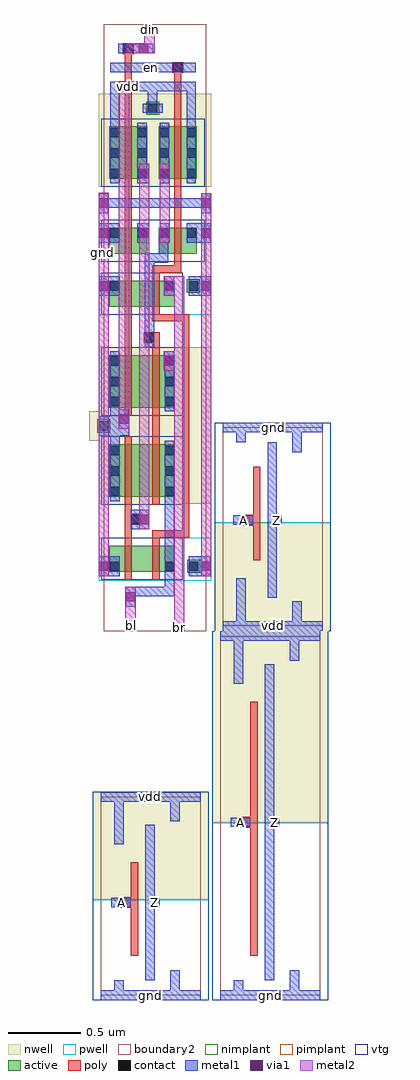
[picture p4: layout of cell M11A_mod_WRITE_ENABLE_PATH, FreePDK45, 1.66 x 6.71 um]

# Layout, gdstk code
import gdstk
lib = gdstk.Library(unit=1e-6, precision=1e-09)
def R(c, l, rs):  # rectangles x0, y0, x1, y1
    for r in rs: c.add(gdstk.rectangle(r[:2], r[2:], *l))
def A(c, l, x, y, w, h, nx, ny, dx, dy):  # array of equal rectangles
    R(c, l, [(x+i*dx, y+j*dy, x+i*dx+w, y+j*dy+h) for i in range(nx) for j in range(ny)])
active = (1, 0)
pwell = (2, 0)
nwell = (3, 0)
nimplant = (4, 0)
pimplant = (5, 0)
vtg = (6, 0)
poly = (9, 0)
contact = (10, 0)
metal1 = (11, 0)
via1 = (12, 0)
metal2 = (13, 0)
boundary2 = (239, 0)

m11a_mod_write_enable_pa = lib.new_cell('M11A_mod_WRITE_ENABLE_PATH')
R(m11a_mod_write_enable_pa, active, [(0.675,2.985,0.765,3.075), (0.14,2.993,0.215,3.173), (0.14,2.993,0.215,3.173), (0.14,2.993,0.215,3.068), (0.14,2.993,0.59,3.173), (0.292,2.993,0.432,3.173), (0.515,2.993,0.59,3.173), (0.515,2.993,0.59,3.173), (0.515,2.993,0.59,3.068), (0.14,3.508,0.215,3.868), (0.14,3.508,0.215,3.868), (0.14,3.508,0.215,3.863), (0.14,3.508,0.59,3.868), (0.292,3.508,0.432,3.868), (0.515,3.508,0.59,3.868), (0.515,3.508,0.59,3.868), (0.515,3.508,0.59,3.863), (0.055,3.95,0.145,4.04), (0.14,4.12,0.215,4.48), (0.14,4.12,0.215,4.48), (0.14,4.12,0.59,4.48), (0.297,4.12,0.437,4.48), (0.515,4.12,0.59,4.48), (0.515,4.12,0.59,4.48), (0.14,4.125,0.215,4.48), (0.515,4.125,0.59,4.48), (0.14,4.815,0.215,4.995), (0.14,4.815,0.215,4.995), (0.14,4.815,0.59,4.995), (0.297,4.815,0.437,4.995), (0.515,4.815,0.59,4.995), (0.515,4.815,0.59,4.995), (0.672,4.913,0.762,5.003), (0.14,4.92,0.215,4.995), (0.515,4.92,0.59,4.995), (0.14,5.18,0.215,5.36), (0.14,5.18,0.215,5.36), (0.14,5.18,0.4,5.36), (0.325,5.18,0.4,5.36), (0.325,5.18,0.4,5.36), (0.48,5.18,0.555,5.36), (0.48,5.18,0.555,5.36), (0.48,5.18,0.74,5.36), (0.665,5.18,0.74,5.36), (0.665,5.18,0.74,5.36), (0.14,5.285,0.215,5.36), (0.325,5.285,0.4,5.36), (0.48,5.285,0.555,5.36), (0.665,5.285,0.74,5.36), (0.14,5.695,0.215,6.055), (0.14,5.695,0.215,6.055), (0.14,5.695,0.4,6.055), (0.14,5.695,0.215,6.05), (0.325,5.695,0.4,6.055), (0.325,5.695,0.4,6.055), (0.325,5.695,0.4,6.05), (0.48,5.695,0.555,6.055), (0.48,5.695,0.555,6.055), (0.48,5.695,0.74,6.055), (0.48,5.695,0.555,6.05), (0.665,5.695,0.74,6.055), (0.665,5.695,0.74,6.055), (0.665,5.695,0.74,6.05), (0.392,6.135,0.482,6.225)])
R(m11a_mod_write_enable_pa, pwell, [(0.025,0.047,0.823,0.735), (0.847,0.047,1.645,1.265), (0.065,2.93,0.84,3.228), (0.62,2.93,0.82,3.13), (0.085,2.938,0.645,3.228), (0.865,3.33,1.663,4.018), (0.065,4.76,0.84,5.415), (0.085,4.76,0.645,5.05), (0.617,4.858,0.817,5.058), (0.085,5.125,0.455,5.415), (0.425,5.125,0.795,5.415)])
R(m11a_mod_write_enable_pa, nwell, [(0.025,0.735,0.823,1.48), (0.847,1.265,1.645,2.585), (0.865,2.585,1.663,3.33), (0.085,3.453,0.645,3.923), (0.065,3.46,0.84,4.535), (0,3.895,0.2,4.095), (0.085,4.065,0.645,4.535), (0.065,5.64,0.84,6.28), (0.085,5.64,0.455,6.11), (0.425,5.64,0.795,6.11), (0.337,6.08,0.537,6.28)])
R(m11a_mod_write_enable_pa, nimplant, [(0.14,2.993,0.59,3.173), (0.055,3.95,0.145,4.04), (0.14,4.815,0.59,4.995), (0.14,5.18,0.4,5.36), (0.48,5.18,0.74,5.36), (0.392,6.135,0.482,6.225)])
R(m11a_mod_write_enable_pa, pimplant, [(0.675,2.985,0.765,3.075), (0.14,3.508,0.59,3.868), (0.14,4.12,0.59,4.48), (0.672,4.913,0.762,5.003), (0.14,5.695,0.4,6.055), (0.48,5.695,0.74,6.055)])
R(m11a_mod_write_enable_pa, vtg, [(0.025,0.047,0.823,0.735), (0.847,0.047,1.645,1.265), (0.025,0.735,0.823,1.48), (0.847,1.265,1.645,2.585), (0.865,2.585,1.663,3.33), (0.085,2.938,0.645,3.228), (0.865,3.33,1.663,4.018), (0.085,3.453,0.645,3.923), (0.085,4.065,0.645,4.535), (0.085,4.76,0.645,5.05), (0.085,5.125,0.455,5.415), (0.425,5.125,0.795,5.415), (0.085,5.64,0.455,6.11), (0.425,5.64,0.795,6.11)])
R(m11a_mod_write_enable_pa, poly, [(0.288,0.35,0.338,0.995), (1.11,0.35,1.16,2.1), (0.22,0.68,0.288,0.755), (1.042,1.233,1.11,1.308), (0.245,2.938,0.295,3.228), (0.245,2.938,0.295,2.993), (0.435,2.938,0.485,3.228), (0.435,2.938,0.485,2.993), (1.128,3.07,1.178,3.715), (0.245,3.173,0.295,3.228), (0.435,3.173,0.485,3.228), (0.245,3.228,0.295,3.453), (0.435,3.228,0.69,3.278), (0.64,3.278,0.69,4.765), (1.06,3.31,1.128,3.385), (0.28,3.315,0.355,3.39), (0.245,3.453,0.295,3.508), (0.245,3.453,0.295,3.923), (0.435,3.453,0.485,3.508), (0.435,3.453,0.485,3.923), (0.245,3.868,0.295,3.923), (0.435,3.868,0.485,3.923), (0.435,3.923,0.485,4.065), (0.245,4.065,0.295,4.12), (0.245,4.065,0.295,4.535), (0.435,4.065,0.485,4.12), (0.435,4.065,0.485,4.535), (0.245,4.48,0.295,4.535), (0.435,4.48,0.485,4.535), (0.245,4.535,0.295,4.76), (0.435,4.535,0.485,4.64), (0.377,4.565,0.452,4.64), (0.435,4.715,0.69,4.765), (0.245,4.76,0.295,5.05), (0.245,4.76,0.295,4.815), (0.435,4.76,0.485,5.05), (0.435,4.76,0.485,4.815), (0.245,4.995,0.295,5.05), (0.435,4.995,0.485,5.05), (0.245,5.05,0.295,5.125), (0.435,5.05,0.635,5.1), (0.585,5.1,0.635,5.125), (0.245,5.125,0.295,5.415), (0.245,5.125,0.295,5.18), (0.585,5.125,0.635,5.415), (0.585,5.125,0.635,5.18), (0.245,5.36,0.295,5.415), (0.585,5.36,0.635,5.415), (0.245,5.415,0.295,5.64), (0.585,5.415,0.635,5.64), (0.245,5.64,0.295,5.695), (0.245,5.64,0.295,6.11), (0.585,5.64,0.635,5.695), (0.585,5.64,0.635,6.11), (0.245,6.055,0.295,6.11), (0.585,6.055,0.635,6.11), (0.245,6.11,0.295,6.623), (0.585,6.11,0.635,6.493), (0.572,6.423,0.647,6.498), (0.232,6.553,0.307,6.628)])
A(m11a_mod_write_enable_pa, contact, 0.145, 3.513, 0.065, 0.065, 1, 3, 0, 0.14)
A(m11a_mod_write_enable_pa, contact, 0.52, 3.513, 0.065, 0.065, 1, 3, 0, 0.14)
A(m11a_mod_write_enable_pa, contact, 0.145, 4.13, 0.065, 0.065, 1, 3, 0, 0.14)
A(m11a_mod_write_enable_pa, contact, 0.52, 4.13, 0.065, 0.065, 1, 3, 0, 0.14)
A(m11a_mod_write_enable_pa, contact, 0.145, 5.7, 0.065, 0.065, 1, 3, 0, 0.14)
A(m11a_mod_write_enable_pa, contact, 0.33, 5.7, 0.065, 0.065, 1, 3, 0, 0.14)
A(m11a_mod_write_enable_pa, contact, 0.485, 5.7, 0.065, 0.065, 1, 3, 0, 0.14)
A(m11a_mod_write_enable_pa, contact, 0.67, 5.7, 0.065, 0.065, 1, 3, 0, 0.14)
R(m11a_mod_write_enable_pa, contact, [(0.145,2.998,0.21,3.063), (0.52,2.998,0.585,3.063), (0.687,2.998,0.752,3.063), (0.285,3.32,0.35,3.385), (0.068,3.963,0.132,4.028), (0.382,4.57,0.447,4.635), (0.145,4.925,0.21,4.99), (0.52,4.925,0.585,4.99), (0.685,4.925,0.75,4.99), (0.145,5.29,0.21,5.355), (0.33,5.29,0.395,5.355), (0.485,5.29,0.55,5.355), (0.67,5.29,0.735,5.355), (0.405,6.148,0.47,6.213), (0.577,6.428,0.642,6.493), (0.237,6.558,0.302,6.623)])
R(m11a_mod_write_enable_pa, metal1, [(0.08,0.047,0.767,0.113), (0.172,0.047,0.237,0.183), (0.902,0.047,1.589,0.113), (0.994,0.047,1.059,0.183), (0.558,0.08,0.622,0.25), (1.38,0.08,1.444,0.25), (0.387,0.183,0.452,1.253), (1.209,0.183,1.274,2.357), (0.152,0.685,0.288,0.75), (0.42,0.685,0.485,0.75), (0.172,1.118,0.237,1.477), (0.974,1.237,1.11,1.302), (1.242,1.237,1.307,1.302), (0.558,1.275,0.622,1.445), (0.08,1.412,0.767,1.477), (0.994,2.223,1.059,2.582), (1.38,2.38,1.444,2.55), (0.902,2.517,1.589,2.582), (0.92,2.588,1.607,2.653), (1.012,2.588,1.077,2.947), (1.398,2.62,1.462,2.79), (0.252,2.753,0.317,2.888), (1.227,2.812,1.292,3.882), (0.25,2.823,0.585,2.888), (0.52,2.888,0.585,2.963), (0.068,2.963,0.132,3.098), (0.127,2.963,0.14,3.098), (0.135,2.963,0.145,3.098), (0.145,2.963,0.21,3.098), (0.52,2.963,0.585,3.098), (0.687,2.963,0.752,3.098), (0.752,2.963,0.772,3.098), (0.772,2.963,0.837,3.098), (0.52,3.098,0.585,3.478), (0.285,3.285,0.35,3.42), (0.347,3.285,0.412,3.42), (0.992,3.315,1.128,3.38), (1.26,3.315,1.325,3.38), (0.145,3.478,0.21,3.893), (0.52,3.478,0.585,3.893), (1.398,3.815,1.462,3.985), (1.012,3.882,1.077,4.018), (0.145,3.893,0.21,4.095), (0.068,3.928,0.132,4.063), (0.132,3.928,0.275,4.063), (0.92,3.952,1.607,4.018), (0.195,3.975,0.21,4.11), (0.207,3.975,0.272,4.11), (0.145,4.095,0.21,4.51), (0.52,4.095,0.585,4.51), (0.517,4.375,0.582,4.51), (0.382,4.535,0.447,4.67), (0.382,4.585,0.447,5.183), (0.068,4.89,0.132,5.025), (0.127,4.89,0.14,5.025), (0.135,4.89,0.145,5.025), (0.145,4.89,0.21,5.025), (0.517,4.89,0.582,5.025), (0.52,4.89,0.585,5.025), (0.685,4.89,0.75,5.025), (0.75,4.89,0.772,5.025), (0.772,4.89,0.837,5.025), (0.382,5.118,0.545,5.183), (0.48,5.183,0.545,5.308), (0.068,5.255,0.132,5.39), (0.127,5.255,0.14,5.39), (0.135,5.255,0.145,5.39), (0.145,5.255,0.21,5.39), (0.33,5.255,0.395,5.39), (0.347,5.255,0.412,5.39), (0.485,5.255,0.55,5.39), (0.487,5.255,0.552,5.39), (0.67,5.255,0.735,5.39), (0.73,5.255,0.772,5.39), (0.772,5.255,0.837,5.39), (0.068,5.46,0.132,5.595), (0.772,5.46,0.837,5.595), (0.065,5.495,0.84,5.56), (0.145,5.665,0.21,6.08), (0.33,5.665,0.395,6.08), (0.347,5.665,0.412,5.8), (0.485,5.665,0.55,6.08), (0.487,5.665,0.552,5.8), (0.67,5.665,0.735,6.08), (0.145,6.08,0.21,6.298), (0.67,6.08,0.735,6.298), (0.37,6.148,0.505,6.213), (0.402,6.148,0.467,6.298), (0.145,6.298,0.735,6.363), (0.205,6.298,0.34,6.363), (0.145,6.428,0.735,6.493), (0.202,6.558,0.337,6.623), (0.307,6.56,0.442,6.625)])
R(m11a_mod_write_enable_pa, via1, [(0.252,2.788,0.317,2.853), (0.068,2.998,0.132,3.063), (0.772,2.998,0.837,3.063), (0.347,3.32,0.412,3.385), (0.207,4.01,0.272,4.075), (0.517,4.41,0.582,4.475), (0.068,4.925,0.132,4.99), (0.517,4.925,0.582,4.99), (0.772,4.925,0.837,4.99), (0.068,5.29,0.132,5.355), (0.347,5.29,0.412,5.355), (0.487,5.29,0.552,5.355), (0.772,5.29,0.837,5.355), (0.068,5.495,0.132,5.56), (0.772,5.495,0.837,5.56), (0.347,5.7,0.412,5.765), (0.487,5.7,0.552,5.765), (0.24,6.298,0.305,6.363), (0.342,6.56,0.407,6.625)])
R(m11a_mod_write_enable_pa, metal2, [(0.25,2.585,0.32,2.885), (0.585,2.585,0.655,5.025), (0.25,2.753,0.32,2.888), (0.065,2.963,0.135,5.598), (0.065,2.963,0.135,3.098), (0.77,2.963,0.84,5.595), (0.77,2.963,0.84,3.098), (0.345,3.285,0.415,3.42), (0.345,3.293,0.415,5.39), (0.205,3.975,0.275,6.295), (0.205,3.975,0.275,4.11), (0.515,4.375,0.585,4.51), (0.065,4.89,0.135,5.025), (0.515,4.89,0.585,5.025), (0.77,4.89,0.84,5.025), (0.065,5.255,0.135,5.39), (0.345,5.255,0.415,5.39), (0.485,5.255,0.555,5.39), (0.77,5.255,0.84,5.39), (0.345,5.39,0.415,5.665), (0.485,5.39,0.555,5.665), (0.065,5.46,0.135,5.595), (0.77,5.46,0.84,5.595), (0.345,5.665,0.415,5.8), (0.485,5.665,0.555,5.8), (0.205,6.295,0.34,6.365), (0.257,6.558,0.45,6.628), (0.307,6.558,0.442,6.628), (0.38,6.62,0.45,6.76)])
R(m11a_mod_write_enable_pa, boundary2, [(0.08,0.08,0.767,1.445), (0.08,0.08,0.767,1.445), (0.902,0.08,1.589,2.55), (0.902,0.08,1.589,2.55), (0.1,2.585,0.805,6.76), (0.92,2.62,1.607,3.985), (0.92,2.62,1.607,3.985)])
m11a_mod_write_enable_pa.add(gdstk.Label('A', (0.22,0.718), layer=11, texttype=0))
m11a_mod_write_enable_pa.add(gdstk.Label('Z', (0.452,0.718), layer=11, texttype=0))
m11a_mod_write_enable_pa.add(gdstk.Label('gnd', (0.425,0.08), layer=11, texttype=0))
m11a_mod_write_enable_pa.add(gdstk.Label('vdd', (0.425,1.445), layer=11, texttype=0))
m11a_mod_write_enable_pa.add(gdstk.Label('A', (1.06,3.347), layer=11, texttype=0))
m11a_mod_write_enable_pa.add(gdstk.Label('Z', (1.292,3.347), layer=11, texttype=0))
m11a_mod_write_enable_pa.add(gdstk.Label('gnd', (1.265,3.985), layer=11, texttype=0))
m11a_mod_write_enable_pa.add(gdstk.Label('vdd', (1.265,2.62), layer=11, texttype=0))
m11a_mod_write_enable_pa.add(gdstk.Label('en', (0.432,6.46), layer=11, texttype=0))
m11a_mod_write_enable_pa.add(gdstk.Label('din', (0.42,6.725), layer=13, texttype=0))
m11a_mod_write_enable_pa.add(gdstk.Label('vdd', (0.272,6.328), layer=13, texttype=0))
m11a_mod_write_enable_pa.add(gdstk.Label('br', (0.62,2.61), layer=13, texttype=0))
m11a_mod_write_enable_pa.add(gdstk.Label('bl', (0.29,2.622), layer=13, texttype=0))
m11a_mod_write_enable_pa.add(gdstk.Label('gnd', (0.095,5.19), layer=13, texttype=0))
m11a_mod_write_enable_pa.add(gdstk.Label('A', (1.042,1.27), layer=11, texttype=0))
m11a_mod_write_enable_pa.add(gdstk.Label('Z', (1.274,1.27), layer=11, texttype=0))
m11a_mod_write_enable_pa.add(gdstk.Label('gnd', (1.247,0.08), layer=11, texttype=0))
m11a_mod_write_enable_pa.add(gdstk.Label('vdd', (1.247,2.55), layer=11, texttype=0))

lib.write_gds('M11A_mod_WRITE_ENABLE_PATH.gds')
